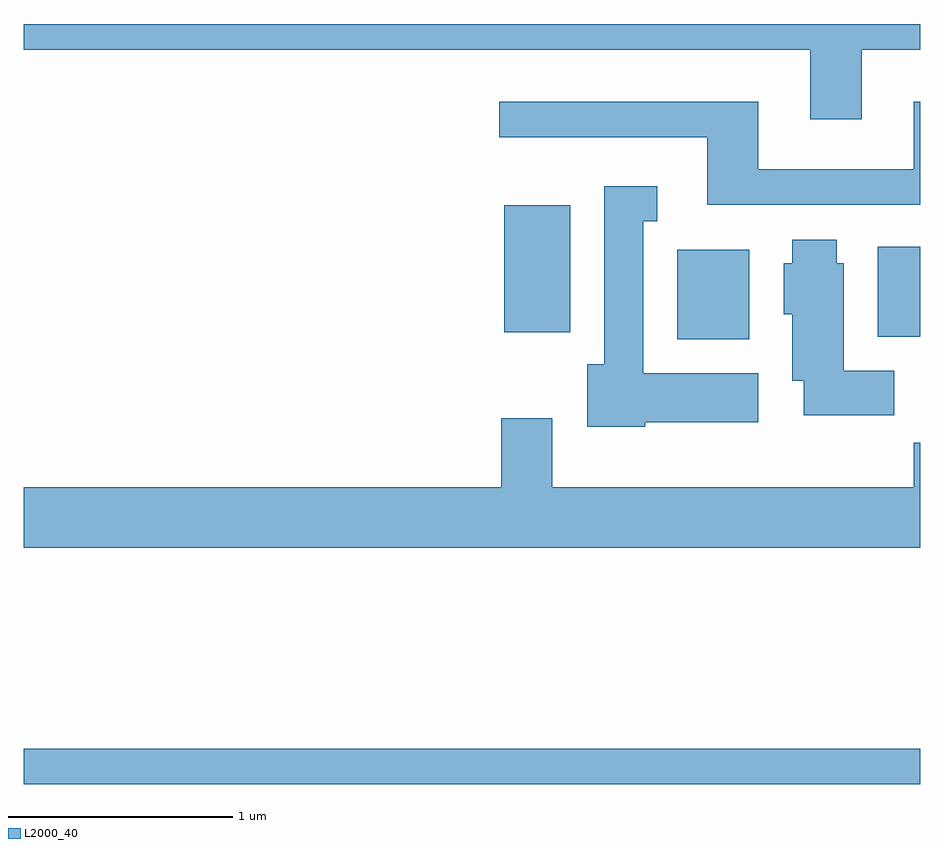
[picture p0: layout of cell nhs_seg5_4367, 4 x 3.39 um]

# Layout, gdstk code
import gdstk
lib = gdstk.Library(unit=1e-6, precision=1e-09)
def R(c, l, rs):  # rectangles x0, y0, x1, y1
    for r in rs: c.add(gdstk.rectangle(r[:2], r[2:], *l))
def P(c, l, *ps):  # polygons
    for p in ps: c.add(gdstk.Polygon(p, *l))
L2000_40 = (2000, 40)

nhs_seg5_4367 = lib.new_cell('nhs_seg5_4367')
R(nhs_seg5_4367, L2000_40, [(315.611,1404.681,319.611,1404.839), (318.526,1406.666,318.849,1407.064), (319.421,1406.676,319.611,1407.079), (317.756,1406.696,318.049,1407.264)])
P(nhs_seg5_4367, L2000_40, [(319.349,1407.956),(319.611,1407.956),(319.611,1408.072),(315.611,1408.072),(315.611,1407.956),(319.121,1407.956),(319.121,1407.646),(319.349,1407.646)],
  [(319.611,1407.724),(319.581,1407.724),(319.581,1407.424),(318.889,1407.424),(318.889,1407.724),(317.733,1407.724),(317.733,1407.566),(318.661,1407.566),(318.661,1407.266),(319.611,1407.266)],
  [(318.384,1406.296),(318.889,1406.296),(318.889,1406.514),(318.374,1406.514),(318.374,1407.191),(318.438,1407.191),(318.438,1407.349),(318.201,1407.349),(318.201,1406.554),(318.126,1406.554),(318.126,1406.276),(318.384,1406.276)],
  [(319.494,1406.524),(319.269,1406.524),(319.269,1407.004),(319.239,1407.004),(319.239,1407.109),(319.041,1407.109),(319.041,1407.004),(319.001,1407.004),(319.001,1406.776),(319.041,1406.776),(319.041,1406.481),(319.091,1406.481),(319.091,1406.326),(319.494,1406.326)],
  [(319.611,1406.204),(319.581,1406.204),(319.581,1406.004),(317.969,1406.004),(317.969,1406.314),(317.741,1406.314),(317.741,1406.004),(315.611,1406.004),(315.611,1405.736),(319.611,1405.736)])

lib.write_gds('nhs_seg5_4367.gds')
